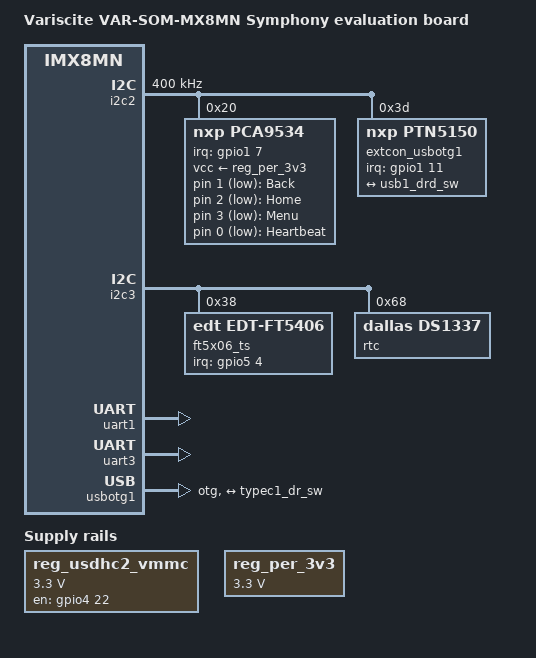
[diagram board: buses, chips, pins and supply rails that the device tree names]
// SPDX-License-Identifier: (GPL-2.0+ OR MIT)
/*
 * Supports Symphony evaluation board versions >= 1.4a.
 *
 * Copyright 2019-2020 Variscite Ltd.
 * Copyright (C) 2020 Krzysztof Kozlowski <krzk@kernel.org>
 */

/dts-v1/;

#include <dt-bindings/usb/pd.h>
#include "imx8mn-var-som.dtsi"

/ {
	model = "Variscite VAR-SOM-MX8MN Symphony evaluation board";
	compatible = "variscite,var-som-mx8mn-symphony", "variscite,var-som-mx8mn", "fsl,imx8mn";

	reg_usdhc2_vmmc: regulator-usdhc2-vmmc {
		compatible = "regulator-fixed";
		pinctrl-names = "default";
		pinctrl-0 = <&pinctrl_reg_usdhc2_vmmc>;
		regulator-name = "VSD_3V3";
		regulator-min-microvolt = <3300000>;
		regulator-max-microvolt = <3300000>;
		gpio = <&gpio4 22 GPIO_ACTIVE_HIGH>;
		enable-active-high;
	};

	gpio-keys {
		compatible = "gpio-keys";

		key-back {
			label = "Back";
			gpios = <&pca9534 1 GPIO_ACTIVE_LOW>;
			linux,code = <KEY_BACK>;
		};

		key-home {
			label = "Home";
			gpios = <&pca9534 2 GPIO_ACTIVE_LOW>;
			linux,code = <KEY_HOME>;
		};

		key-menu {
			label = "Menu";
			gpios = <&pca9534 3 GPIO_ACTIVE_LOW>;
			linux,code = <KEY_MENU>;
		};
	};

	leds {
		compatible = "gpio-leds";

		led {
			label = "Heartbeat";
			gpios = <&pca9534 0 GPIO_ACTIVE_LOW>;
			linux,default-trigger = "heartbeat";
		};
	};

	/* Peripherals supply, enabled by Q2 after SOM_3V3 rises. */
	reg_per_3v3: regulator-peripheral-3v3 {
		compatible = "regulator-fixed";
		regulator-name = "per_3v3";
		regulator-min-microvolt = <3300000>;
		regulator-max-microvolt = <3300000>;
		regulator-always-on;
	};
};

&ethphy {
	reset-gpios = <&pca9534 5 GPIO_ACTIVE_HIGH>;
};

&i2c2 {
	clock-frequency = <400000>;
	pinctrl-names = "default";
	pinctrl-0 = <&pinctrl_i2c2>;
	status = "okay";

	pca9534: gpio@20 {
		compatible = "nxp,pca9534";
		reg = <0x20>;
		gpio-controller;
		pinctrl-names = "default";
		pinctrl-0 = <&pinctrl_pca9534>;
		interrupt-parent = <&gpio1>;
		interrupts = <7 IRQ_TYPE_EDGE_FALLING>;
		#gpio-cells = <2>;
		wakeup-source;
		vcc-supply = <&reg_per_3v3>;

		/* USB 3.0 OTG (usbotg1) / SATA port switch, set to USB 3.0 */
		usb3-sata-sel-hog {
			gpio-hog;
			gpios = <4 GPIO_ACTIVE_HIGH>;
			output-low;
			line-name = "usb3_sata_sel";
		};

		som-vselect-hog {
			gpio-hog;
			gpios = <6 GPIO_ACTIVE_HIGH>;
			output-low;
			line-name = "som_vselect";
		};

		enet-sel-hog {
			gpio-hog;
			gpios = <7 GPIO_ACTIVE_HIGH>;
			output-low;
			line-name = "enet_sel";
		};
	};

	/*
	 * For Symphony board version <= 1.4, the PTN5150 IRQ pin is connected
	 * to GPIO1_IO11 on the SoM (R106 present, R132 absent). From Symphony
	 * board version >= 1.4a, the PTN5150 ID pin is connected to GPIO1_IO11
	 * on the SoM (R106 absent, R132 present).
	 */
	extcon_usbotg1: typec@3d {
		compatible = "nxp,ptn5150";
		reg = <0x3d>;
		interrupt-parent = <&gpio1>;
		interrupts = <11 IRQ_TYPE_EDGE_FALLING>;
		pinctrl-names = "default";
		pinctrl-0 = <&pinctrl_ptn5150>;
		status = "okay";

		connector {
			compatible = "usb-c-connector";
			label = "USB-C";

			port {
				typec1_dr_sw: endpoint {
					remote-endpoint = <&usb1_drd_sw>;
				};
			};
		};
	};
};

&i2c3 {
	/* Capacitive touch controller */
	ft5x06_ts: touchscreen@38 {
		compatible = "edt,edt-ft5406";
		reg = <0x38>;
		pinctrl-names = "default";
		pinctrl-0 = <&pinctrl_captouch>;
		interrupt-parent = <&gpio5>;
		interrupts = <4 IRQ_TYPE_LEVEL_HIGH>;

		touchscreen-size-x = <800>;
		touchscreen-size-y = <480>;
		touchscreen-inverted-x;
		touchscreen-inverted-y;
	};

	rtc@68 {
		compatible = "dallas,ds1337";
		reg = <0x68>;
	};
};

/* Header */
&uart1 {
	pinctrl-names = "default";
	pinctrl-0 = <&pinctrl_uart1>;
	status = "okay";
};

/* Header */
&uart3 {
	pinctrl-names = "default";
	pinctrl-0 = <&pinctrl_uart3>;
	status = "okay";
};

&usbotg1 {
	dr_mode = "otg";
	hnp-disable;
	srp-disable;
	adp-disable;
	usb-role-switch;
	disable-over-current;
	samsung,picophy-pre-emp-curr-control = <3>;
	samsung,picophy-dc-vol-level-adjust = <7>;
	status = "okay";

	port {
		usb1_drd_sw: endpoint {
			remote-endpoint = <&typec1_dr_sw>;
		};
	};
};

&iomuxc {
	pinctrl_captouch: captouchgrp {
		fsl,pins = <
			MX8MN_IOMUXC_SPDIF_RX_GPIO5_IO4		0x16
		>;
	};

	pinctrl_i2c2: i2c2grp {
		fsl,pins = <
			MX8MN_IOMUXC_I2C2_SCL_I2C2_SCL		0x400001c3
			MX8MN_IOMUXC_I2C2_SDA_I2C2_SDA		0x400001c3
		>;
	};

	pinctrl_pca9534: pca9534grp {
		fsl,pins = <
			MX8MN_IOMUXC_GPIO1_IO07_GPIO1_IO7	0x16
		>;
	};

	pinctrl_ptn5150: ptn5150grp {
		fsl,pins = <
			MX8MN_IOMUXC_GPIO1_IO11_GPIO1_IO11	0x16
		>;
	};

	pinctrl_reg_usdhc2_vmmc: regusdhc2vmmcgrp {
		fsl,pins = <
			MX8MN_IOMUXC_SAI2_RXC_GPIO4_IO22	0x41
		>;
	};

	pinctrl_uart1: uart1grp {
		fsl,pins = <
			MX8MN_IOMUXC_UART1_RXD_UART1_DCE_RX	0x140
			MX8MN_IOMUXC_UART1_TXD_UART1_DCE_TX	0x140
		>;
	};

	pinctrl_uart3: uart3grp {
		fsl,pins = <
			MX8MN_IOMUXC_UART3_RXD_UART3_DCE_RX	0x140
			MX8MN_IOMUXC_UART3_TXD_UART3_DCE_TX	0x140
		>;
	};
};
